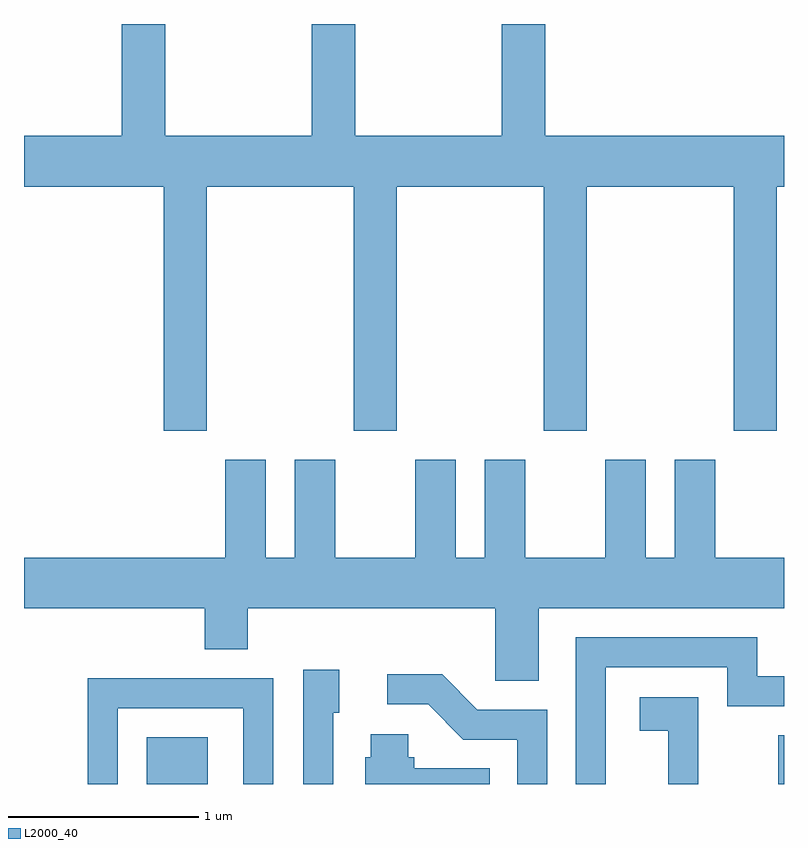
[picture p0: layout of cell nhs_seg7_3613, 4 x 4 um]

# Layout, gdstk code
import gdstk
lib = gdstk.Library(unit=1e-6, precision=1e-09)
def R(c, l, rs):  # rectangles x0, y0, x1, y1
    for r in rs: c.add(gdstk.rectangle(r[:2], r[2:], *l))
def P(c, l, *ps):  # polygons
    for p in ps: c.add(gdstk.Polygon(p, *l))
L2000_40 = (2000, 40)

nhs_seg7_3613 = lib.new_cell('nhs_seg7_3613')
R(nhs_seg7_3613, L2000_40, [(296.256,1742.252,296.579,1742.499), (299.581,1742.252,299.611,1742.509)])
P(nhs_seg7_3613, L2000_40, [(296.354,1746.252),(296.126,1746.252),(296.126,1745.664),(295.611,1745.664),(295.611,1745.396),(296.346,1745.396),(296.346,1744.111),(296.574,1744.111),(296.574,1745.396),(297.346,1745.396),(297.346,1744.111),(297.574,1744.111),(297.574,1745.396),(298.346,1745.396),(298.346,1744.111),(298.574,1744.111),(298.574,1745.396),(299.346,1745.396),(299.346,1744.111),(299.574,1744.111),(299.574,1745.396),(299.611,1745.396),(299.611,1745.664),(298.354,1745.664),(298.354,1746.252),(298.126,1746.252),(298.126,1745.664),(297.354,1745.664),(297.354,1746.252),(297.126,1746.252),(297.126,1745.664),(296.354,1745.664)],
  [(298.319,1743.176),(299.611,1743.176),(299.611,1743.444),(299.249,1743.444),(299.249,1743.959),(299.036,1743.959),(299.036,1743.444),(298.884,1743.444),(298.884,1743.959),(298.671,1743.959),(298.671,1743.444),(298.249,1743.444),(298.249,1743.959),(298.036,1743.959),(298.036,1743.444),(297.884,1743.444),(297.884,1743.959),(297.671,1743.959),(297.671,1743.444),(297.249,1743.444),(297.249,1743.959),(297.036,1743.959),(297.036,1743.444),(296.884,1743.444),(296.884,1743.959),(296.671,1743.959),(296.671,1743.444),(295.611,1743.444),(295.611,1743.176),(296.561,1743.176),(296.561,1742.961),(296.789,1742.961),(296.789,1743.176),(298.091,1743.176),(298.091,1742.796),(298.319,1742.796)],
  [(298.674,1742.866),(299.311,1742.866),(299.311,1742.661),(299.611,1742.661),(299.611,1742.819),(299.469,1742.819),(299.469,1743.024),(298.516,1743.024),(298.516,1742.252),(298.674,1742.252)],
  [(297.239,1742.626),(297.269,1742.626),(297.269,1742.854),(297.081,1742.854),(297.081,1742.252),(297.239,1742.252)],
  [(298.364,1742.644),(297.997,1742.644),(297.812,1742.829),(297.523,1742.829),(297.523,1742.671),(297.739,1742.671),(297.924,1742.486),(298.206,1742.486),(298.206,1742.252),(298.364,1742.252)],
  [(296.104,1742.651),(296.766,1742.651),(296.766,1742.252),(296.924,1742.252),(296.924,1742.809),(295.946,1742.809),(295.946,1742.252),(296.104,1742.252)],
  [(299.159,1742.709),(298.851,1742.709),(298.851,1742.531),(299.001,1742.531),(299.001,1742.252),(299.159,1742.252)],
  [(298.063,1742.334),(297.664,1742.334),(297.664,1742.394),(297.634,1742.394),(297.634,1742.514),(297.436,1742.514),(297.436,1742.394),(297.406,1742.394),(297.406,1742.252),(298.063,1742.252)])

lib.write_gds('nhs_seg7_3613.gds')
